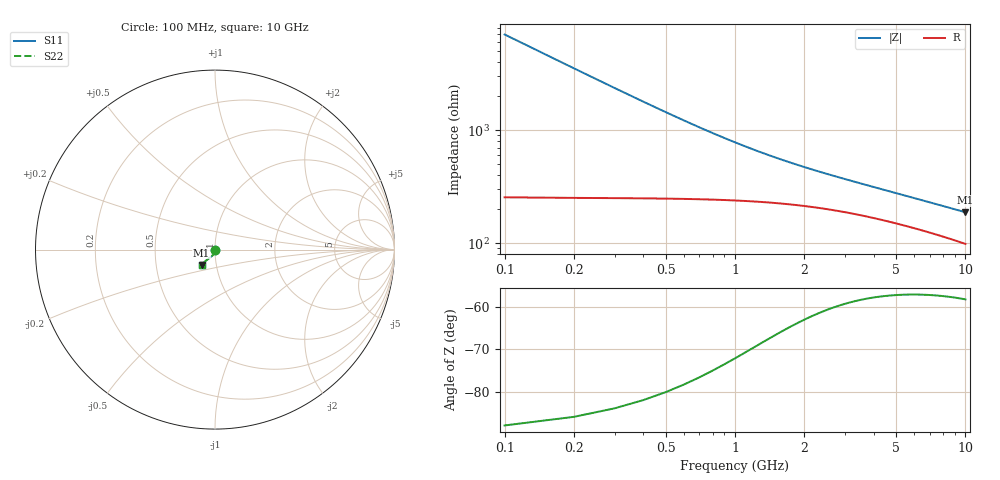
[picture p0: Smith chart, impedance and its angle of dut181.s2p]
! Touchstone file exported from HFSS 2024.1.0
!  File:  C:/UserFiles/LocalFiles/RDL_TSV_Batchsim/temp_TSV1_181_1778756295.aedt
!  Generated:  07:02:53 PM May 14, 2026
!  Design:  TSV1
!  Project:  temp_TSV1_181_1778756295
!  Setup:  Setup1
!  Solution:  Sweep
! Variables:
!  dtsv = 27.99um
!  hbump = 3um
!  htsv = 66.87um
!  lrdl = 252.1521522um
!  p = 40
!  p1 = 58.25um
!  t = 500um
!  trdl = 3um
!  wrdl = 24.89489489um
# GHz S MA R 50.000000
! Terminal data exported
! Port[1] = TSV22_T1
! Port[2] = TSV22_T2
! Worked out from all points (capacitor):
!   100 points, 100 MHz to 10 GHz, reference 50 ohm
!   read as one part in shunt: C = 227 fF near 100 MHz
!   lowest |Z| = 188 ohm at 10 GHz (marker M1)
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0.1  0.003353 -91.0  0.9998 -0.2  0.9998 -0.2  0.003353 -91.0
! Gamma 0 0 0 0
! Port Impedance 50 0 50 0
0.2  0.006678 -93.9  0.9994 -0.4  0.9994 -0.4  0.006678 -93.9
0.3  0.009954 -96.2  0.9987 -0.6  0.9987 -0.6  0.009954 -96.2
0.4  0.01316 -98.5  0.9978 -0.8  0.9978 -0.8  0.01316 -98.5
0.5  0.01627 -100.6  0.9966 -1.0  0.9966 -1.0  0.01627 -100.6
0.6  0.01927 -102.6  0.9954 -1.2  0.9954 -1.2  0.01927 -102.6
0.7  0.02215 -104.5  0.994 -1.4  0.994 -1.4  0.02215 -104.5
0.8  0.02491 -106.4  0.9925 -1.5  0.9925 -1.5  0.02491 -106.4
0.9  0.02754 -108.1  0.9909 -1.7  0.9909 -1.7  0.02754 -108.1
1.1  0.03241 -111.2  0.9878 -2.0  0.9878 -2.0  0.03241 -111.2
1.4  0.0388 -115.1  0.9832 -2.3  0.9832 -2.3  0.0388 -115.1
1.6  0.04254 -117.2  0.9803 -2.5  0.9803 -2.5  0.04254 -117.2
1.8  0.04592 -119.1  0.9776 -2.7  0.9776 -2.7  0.04592 -119.1
2.1  0.05046 -121.3  0.9739 -2.9  0.9739 -2.9  0.05046 -121.3
2.5  0.05576 -123.5  0.9695 -3.2  0.9695 -3.2  0.05576 -123.5
2.9  0.06044 -125.2  0.9656 -3.4  0.9656 -3.4  0.06044 -125.2
3.4  0.06571 -126.6  0.9614 -3.7  0.9614 -3.7  0.06571 -126.6
4.2  0.07324 -128.2  0.9556 -4.1  0.9556 -4.1  0.07324 -128.2
5.1  0.08079 -129.3  0.9501 -4.6  0.9501 -4.6  0.08079 -129.3
6.7  0.09262 -130.4  0.942 -5.4  0.942 -5.4  0.09262 -130.4
8.4  0.1037 -130.9  0.935 -6.1  0.935 -6.1  0.1037 -130.9
10  0.1131 -131.1  0.9294 -6.8  0.9294 -6.8  0.1131 -131.1
